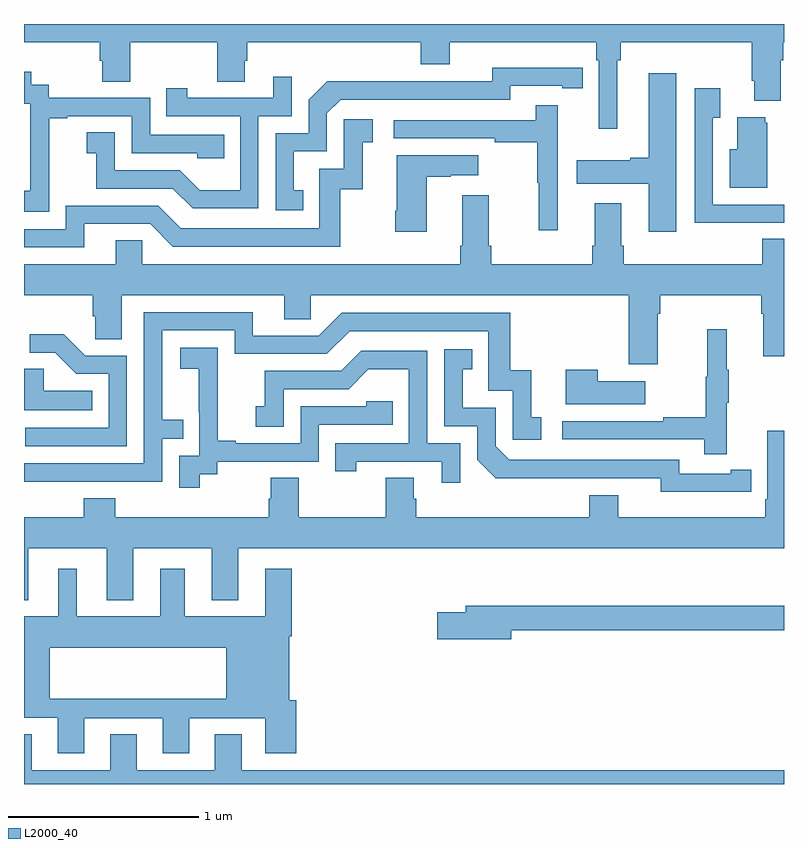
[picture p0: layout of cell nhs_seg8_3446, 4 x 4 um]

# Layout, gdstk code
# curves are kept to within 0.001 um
import gdstk
lib = gdstk.Library(unit=1e-6, precision=1e-09)
def P(c, l, *ps):  # polygons
    for p in ps: c.add(gdstk.Polygon(p, *l))
L2000_40 = (2000, 40)

nhs_seg8_3446 = lib.new_cell('nhs_seg8_3446')
P(nhs_seg8_3446, L2000_40, [(326.122,1145.708),(326.141,1145.708),(326.141,1145.804),(326.831,1145.804),(326.831,1145.602),(326.843,1145.602),(326.843,1145.495),(326.983,1145.495),(326.983,1145.708),(326.996,1145.708),(326.996,1145.804),(327,1145.804),(327,1145.9),(323,1145.9),(323,1145.804),(323.399,1145.804),(323.399,1145.706),(323.411,1145.706),(323.411,1145.596),(323.559,1145.596),(323.559,1145.804),(324.016,1145.804),(324.016,1145.596),(324.163,1145.596),(324.163,1145.706),(324.176,1145.706),(324.176,1145.804),(325.088,1145.804),(325.088,1145.687),(325.24,1145.687),(325.24,1145.804),(326.012,1145.804),(326.012,1145.708),(326.025,1145.708),(326.025,1145.349),(326.122,1145.349)],
  [(324.47,1145.025),(324.421,1145.025),(324.421,1145.229),(324.594,1145.229),(324.594,1145.43),(324.666,1145.502),(325.56,1145.502),(325.56,1145.574),(325.832,1145.574),(325.832,1145.562),(325.94,1145.562),(325.94,1145.67),(325.464,1145.671),(325.464,1145.598),(325.004,1145.598),(325.004,1145.6),(324.596,1145.6),(324.498,1145.502),(324.498,1145.325),(324.324,1145.325),(324.324,1144.92),(324.47,1144.92)],
  [(323.133,1145.119),(323.132,1145.119),(323.132,1145.403),(323.227,1145.403),(323.227,1145.415),(323.568,1145.415),(323.568,1145.22),(323.913,1145.22),(323.913,1145.193),(324.053,1145.193),(324.053,1145.316),(323.664,1145.316),(323.664,1145.511),(323.13,1145.511),(323.13,1145.58),(323.038,1145.58),(323.038,1145.65),(323,1145.65),(323,1145.481),(323.034,1145.481),(323.034,1145.252),(323.033,1145.252),(323.033,1145.023),(323,1145.023),(323,1144.913),(323.133,1144.913)],
  [(326.434,1145.641),(326.288,1145.641),(326.288,1145.195),(326.192,1145.195),(326.192,1145.182),(325.908,1145.182),(325.908,1145.06),(326.288,1145.06),(326.288,1144.806),(326.434,1144.806)],
  [(324.234,1145.415),(324.408,1145.415),(324.408,1145.623),(324.311,1145.623),(324.311,1145.511),(323.86,1145.511),(323.86,1145.563),(323.749,1145.563),(323.749,1145.415),(324.138,1145.415),(324.138,1145.026),(323.924,1145.026),(323.82,1145.13),(323.478,1145.13),(323.478,1145.329),(323.331,1145.329),(323.331,1145.219),(323.38,1145.219),(323.38,1145.034),(323.783,1145.034),(323.888,1144.929),(324.234,1144.929)],
  [(326.801,1144.854),(327,1144.854),(327,1144.95),(326.625,1144.95),(326.625,1145.407),(326.665,1145.407),(326.665,1145.563),(326.529,1145.563),(326.529,1144.853),(326.801,1144.853)],
  [(325.809,1145.473),(325.693,1145.473),(325.693,1145.394),(324.945,1145.394),(324.945,1145.298),(325.477,1145.298),(325.477,1145.278),(325.701,1145.278),(325.701,1145.064),(325.708,1145.064),(325.708,1144.815),(325.809,1144.815)],
  [(326.911,1145.379),(326.9,1145.379),(326.9,1145.41),(326.753,1145.41),(326.753,1145.242),(326.714,1145.242),(326.714,1145.039),(326.911,1145.039)],
  [(323.317,1144.848),(323.664,1144.848),(323.784,1144.728),(324.664,1144.728),(324.664,1145.031),(324.782,1145.031),(324.782,1145.277),(324.835,1145.277),(324.835,1145.398),(324.684,1145.398),(324.684,1145.139),(324.555,1145.139),(324.555,1144.824),(323.826,1144.824),(323.706,1144.944),(323.22,1144.944),(323.22,1144.821),(323,1144.821),(323,1144.725),(323.317,1144.725)],
  [(325.12,1145.095),(325.247,1145.095),(325.247,1145.105),(325.39,1145.105),(325.39,1145.209),(324.962,1145.209),(324.962,1144.918),(324.955,1144.918),(324.955,1144.806),(325.12,1144.806)],
  [(323.622,1144.763),(323.483,1144.763),(323.483,1144.636),(323,1144.636),(323,1144.472),(323.363,1144.472),(323.363,1144.363),(323.376,1144.363),(323.376,1144.24),(323.515,1144.24),(323.515,1144.472),(324.371,1144.472),(324.371,1144.345),(324.51,1144.345),(324.51,1144.472),(326.183,1144.472),(326.183,1144.11),(326.335,1144.11),(326.335,1144.376),(326.348,1144.376),(326.348,1144.472),(326.879,1144.472),(326.879,1144.376),(326.891,1144.376),(326.891,1144.152),(327,1144.152),(327,1144.769),(326.885,1144.769),(326.885,1144.636),(326.156,1144.636),(326.156,1144.732),(326.143,1144.732),(326.143,1144.957),(326.003,1144.957),(326.003,1144.732),(325.991,1144.732),(325.991,1144.636),(325.46,1144.636),(325.46,1144.732),(325.447,1144.732),(325.447,1144.999),(325.307,1144.999),(325.307,1144.732),(325.295,1144.732),(325.295,1144.636),(323.622,1144.636)],
  [(323.231,1143.492),(323.727,1143.492),(323.727,1143.717),(323.837,1143.717),(323.837,1143.818),(323.727,1143.818),(323.727,1144.287),(324.108,1144.287),(324.108,1144.164),(324.594,1144.164),(324.714,1144.284),(325.443,1144.284),(325.443,1143.969),(325.572,1143.969),(325.572,1143.711),(325.723,1143.711),(325.723,1143.831),(325.67,1143.831),(325.67,1144.078),(325.559,1144.078),(325.559,1144.38),(324.672,1144.38),(324.552,1144.26),(324.205,1144.26),(324.205,1144.383),(323.631,1144.383),(323.631,1143.588),(323,1143.588),(323,1143.491)],
  [(326.699,1143.907),(326.71,1143.907),(326.71,1144.081),(326.699,1144.081),(326.699,1144.294),(326.596,1144.294),(326.596,1144.044),(326.589,1144.044),(326.589,1143.83),(326.365,1143.83),(326.365,1143.81),(325.833,1143.81),(325.833,1143.714),(326.581,1143.714),(326.581,1143.636),(326.699,1143.636)],
  [(323.541,1144.155),(323.322,1144.155),(323.209,1144.268),(323.031,1144.268),(323.031,1144.17),(323.165,1144.17),(323.276,1144.059),(323.445,1144.059),(323.445,1143.774),(323.007,1143.774),(323.007,1143.678),(323.541,1143.678)],
  [(323.926,1143.529),(324.018,1143.529),(324.018,1143.597),(324.552,1143.597),(324.552,1143.792),(324.941,1143.792),(324.941,1143.915),(324.801,1143.915),(324.801,1143.888),(324.456,1143.888),(324.456,1143.693),(324.115,1143.693),(324.115,1143.706),(324.02,1143.706),(324.02,1143.989),(324.021,1143.989),(324.021,1144.195),(323.823,1144.195),(323.823,1144.085),(323.921,1144.085),(323.921,1143.857),(323.922,1143.857),(323.922,1143.627),(323.817,1143.627),(323.817,1143.459),(323.926,1143.459)],
  [(326.72,1143.438),(326.828,1143.438),(326.828,1143.554),(326.72,1143.554),(326.72,1143.534),(326.448,1143.534),(326.448,1143.606),(325.554,1143.606),(325.482,1143.678),(325.482,1143.879),(325.309,1143.879),(325.309,1144.083),(325.358,1144.083),(325.358,1144.189),(325.212,1144.189),(325.212,1143.783),(325.386,1143.783),(325.386,1143.606),(325.484,1143.509),(326.352,1143.51),(326.352,1143.437)],
  [(325.296,1143.693),(325.122,1143.693),(325.122,1144.179),(324.776,1144.179),(324.671,1144.074),(324.268,1144.074),(324.268,1143.889),(324.219,1143.889),(324.219,1143.78),(324.366,1143.78),(324.366,1143.978),(324.708,1143.978),(324.812,1144.082),(325.026,1144.082),(325.026,1143.693),(324.637,1143.693),(324.637,1143.546),(324.748,1143.546),(324.748,1143.597),(325.199,1143.597),(325.199,1143.486),(325.296,1143.486)],
  [(323.36,1143.97),(323.103,1143.97),(323.103,1144.085),(323,1144.085),(323,1143.866),(323.36,1143.866)],
  [(326.269,1144.021),(326.021,1144.021),(326.021,1144.081),(325.85,1144.081),(325.85,1143.899),(326.269,1143.899)],
  [(323.023,1143.14),(323.435,1143.14),(323.435,1142.867),(323.575,1142.867),(323.575,1143.14),(323.987,1143.14),(323.987,1142.867),(324.127,1142.867),(324.127,1143.14),(327,1143.14),(327,1143.76),(326.913,1143.76),(326.913,1143.4),(326.9,1143.4),(326.9,1143.304),(326.128,1143.304),(326.128,1143.421),(325.976,1143.421),(325.976,1143.304),(325.064,1143.304),(325.064,1143.402),(325.051,1143.402),(325.051,1143.512),(324.904,1143.512),(324.904,1143.304),(324.447,1143.304),(324.447,1143.512),(324.299,1143.512),(324.299,1143.402),(324.287,1143.402),(324.287,1143.304),(323.48,1143.304),(323.48,1143.403),(323.315,1143.403),(323.315,1143.304),(323,1143.304),(323,1142.867),(323.023,1142.867)],
  [(323.177,1142.25),(323.177,1142.061),(323.317,1142.061),(323.317,1142.247),(323.729,1142.247),(323.729,1142.061),(323.869,1142.061),(323.869,1142.247),(324.269,1142.247),(324.269,1142.061),(324.434,1142.061),(324.434,1142.34),(324.397,1142.34),(324.397,1142.678),(324.41,1142.678),(324.41,1143.034),(324.269,1143.034),(324.269,1142.782),(323.845,1142.782),(323.845,1143.034),(323.717,1143.034),(323.717,1142.782),(323.278,1142.782),(323.278,1143.034),(323.18,1143.034),(323.18,1142.782),(323,1142.782),(323,1142.348),(323.135,1142.348),(323.135,1142.618),(324.065,1142.618),(324.065,1142.348),(323.135,1142.348),(323,1142.348),(323,1142.25)],
  [(325.564,1142.71),(327,1142.71),(327,1142.839),(325.325,1142.839),(325.325,1142.805),(325.176,1142.805),(325.176,1142.663),(325.564,1142.663)],
  [(327,1141.972),(324.145,1141.972),(324.145,1142.162),(324.005,1142.162),(324.005,1141.972),(323.593,1141.972),(323.593,1142.162),(323.453,1142.162),(323.453,1141.972),(323.041,1141.972),(323.041,1142.162),(323,1142.162),(323,1141.9),(327,1141.9)])

lib.write_gds('nhs_seg8_3446.gds')
